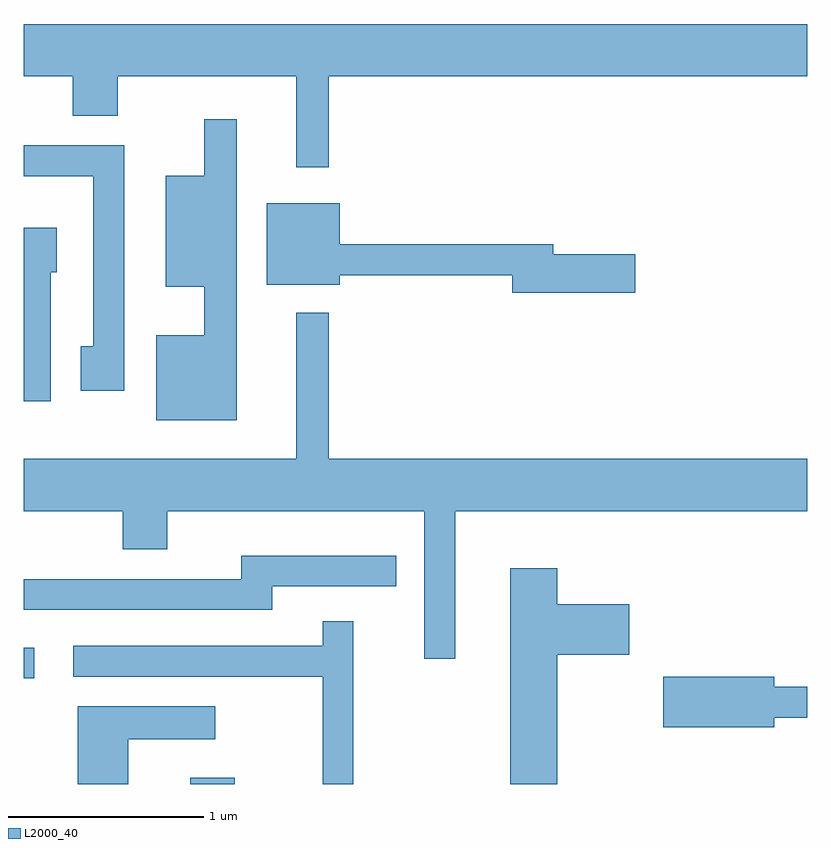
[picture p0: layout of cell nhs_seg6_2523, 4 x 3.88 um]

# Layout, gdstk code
import gdstk
lib = gdstk.Library(unit=1e-6, precision=1e-09)
def R(c, l, rs):  # rectangles x0, y0, x1, y1
    for r in rs: c.add(gdstk.rectangle(r[:2], r[2:], *l))
def P(c, l, *ps):  # polygons
    for p in ps: c.add(gdstk.Polygon(p, *l))
L2000_40 = (2000, 40)

nhs_seg6_2523 = lib.new_cell('nhs_seg6_2523')
R(nhs_seg6_2523, L2000_40, [(262.461,1584.162,262.689,1584.194), (261.611,1584.701,261.663,1584.859)])
P(nhs_seg6_2523, L2000_40, [(263.169,1587.776),(265.611,1587.776),(265.611,1588.044),(261.611,1588.044),(261.611,1587.776),(261.861,1587.776),(261.861,1587.576),(262.089,1587.576),(262.089,1587.776),(263.001,1587.776),(263.001,1587.313),(263.169,1587.313)],
  [(262.699,1587.558),(262.531,1587.558),(262.531,1587.269),(262.336,1587.269),(262.336,1586.701),(262.531,1586.701),(262.531,1586.454),(262.286,1586.454),(262.286,1586.021),(262.699,1586.021)],
  [(262.124,1587.424),(261.611,1587.424),(261.611,1587.266),(261.966,1587.266),(261.966,1586.399),(261.901,1586.399),(261.901,1586.171),(262.124,1586.171)],
  [(264.734,1586.869),(264.314,1586.869),(264.314,1586.919),(263.224,1586.919),(263.224,1587.129),(262.851,1587.129),(262.851,1586.711),(263.224,1586.711),(263.224,1586.761),(264.106,1586.761),(264.106,1586.671),(264.734,1586.671)],
  [(261.749,1586.776),(261.779,1586.776),(261.779,1587.004),(261.611,1587.004),(261.611,1586.116),(261.749,1586.116)],
  [(263.814,1585.556),(265.611,1585.556),(265.611,1585.824),(263.169,1585.824),(263.169,1586.568),(263.001,1586.568),(263.001,1585.824),(261.611,1585.824),(261.611,1585.556),(262.116,1585.556),(262.116,1585.361),(262.344,1585.361),(262.344,1585.556),(263.656,1585.556),(263.656,1584.803),(263.814,1584.803)],
  [(262.879,1585.171),(263.513,1585.171),(263.513,1585.329),(262.721,1585.329),(262.721,1585.209),(261.611,1585.209),(261.611,1585.051),(262.879,1585.051)],
  [(264.334,1584.821),(264.704,1584.821),(264.704,1585.079),(264.334,1585.079),(264.334,1585.264),(264.096,1585.264),(264.096,1584.162),(264.334,1584.162)],
  [(263.294,1584.993),(263.136,1584.993),(263.136,1584.869),(261.863,1584.869),(261.863,1584.711),(263.136,1584.711),(263.136,1584.162),(263.294,1584.162)],
  [(265.444,1584.501),(265.611,1584.501),(265.611,1584.659),(265.444,1584.659),(265.444,1584.709),(264.876,1584.709),(264.876,1584.451),(265.444,1584.451)],
  [(262.144,1584.391),(262.588,1584.391),(262.588,1584.559),(261.886,1584.559),(261.886,1584.162),(262.144,1584.162)])

lib.write_gds('nhs_seg6_2523.gds')
